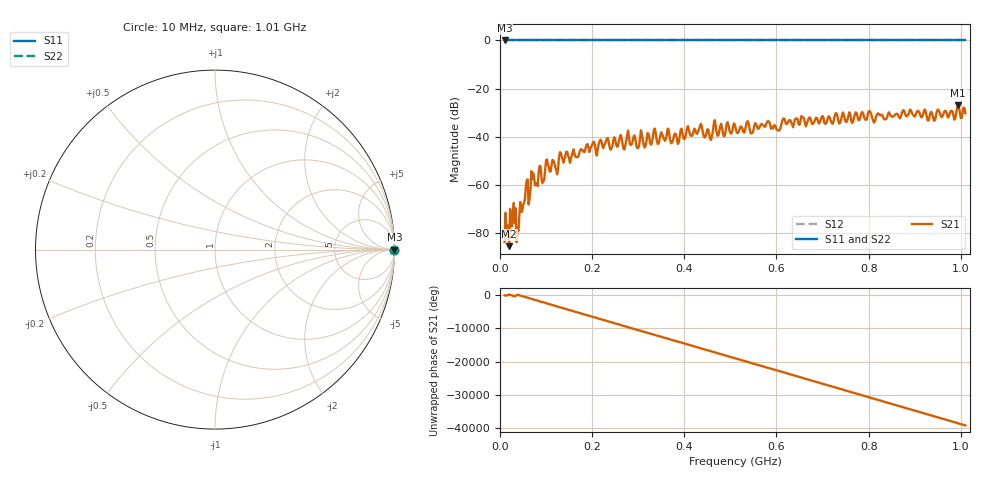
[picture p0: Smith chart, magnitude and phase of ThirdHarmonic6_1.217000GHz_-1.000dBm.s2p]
! 8/16/2025 12:44:24 PM
! C:\ANRITSUVNA\TEMP\TEMP.S2P
! CHANNEL.1
! TR.MEASUREMENT
! RAW.DATA
! RF.CORRECTION.OFF
! AVERAGING.OFF
! IF.BANDWIDTH: 5KHZ
! SWEEPTYPE:  FREQ.SWEEP(Linear)
! Reference Plane Port Info
! PORT:  PORT1  PORT2
! DISTANCE:  0  m  0  m
! TIME:  0  s  0  s
! PHASE.OFFSET:  0  deg.  0  deg.
! LOSS:  0  dB  0  dB
! REF.LOSS:  0  dB  0  dB
! REF.FREQ:  0  Hz  0  Hz
! Power Info
! POWER:  -20  dBm  -20  dBm
! EFF.POWER:  -20  dBm  -20  dBm
! SOURCE.ATTEN:  0  dB  0  dB
! TEST.ATTEN:  0  dB  0  dB
# GHZ S RI R 50.0
! FREQ.GHZ  S11RE  S11IM  S21RE  S21IM  S12RE  S12IM  S22RE  S22IM
!; PortSelection: Port_12
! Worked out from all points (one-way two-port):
!   501 points, 10 MHz to 1.01 GHz, reference 50 ohm
!   highest |S21| = -26.87 dB at 994 MHz (marker M1); lowest = -85.5 dB at 20 MHz (marker M2)
!   lowest |S11| = 0.0 dB at 10 MHz (marker M3)
!   |S11| at or under -10 dB: nowhere
!   |S22| runs from 0.0 to 0.0 dB; largest |S21 - S12| = 1
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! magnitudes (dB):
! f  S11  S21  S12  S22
! 10 MHz  0.0  -83.8  0.0  0.0
! 20 MHz  0.0  -85.5  0.0  0.0
! 26 MHz  0.0  -77.3  0.0  0.0
! 40 MHz  0.0  -79.2  0.0  0.0
! 56 MHz  0.0  -61.0  0.0  0.0
! 72 MHz  0.0  -55.2  0.0  0.0
! 78 MHz  0.0  -59.7  0.0  0.0
! 88 MHz  0.0  -52.3  0.0  0.0
! 94 MHz  0.0  -58.5  0.0  0.0
! 102 MHz  0.0  -49.5  0.0  0.0
! 122 MHz  0.0  -53.8  0.0  0.0
! 132 MHz  0.0  -46.6  0.0  0.0
! 178 MHz  0.0  -45.5  0.0  0.0
! 278 MHz  0.0  -37.4  0.0  0.0
! 314 MHz  0.0  -44.5  0.0  0.0
! 336 MHz  0.0  -36.6  0.0  0.0
! 344 MHz  0.0  -42.9  0.0  0.0
! 510 MHz  0.0  -35.3  0.0  0.0
! 678 MHz  0.0  -34.8  0.0  0.0
! 844 MHz  0.0  -29.8  0.0  0.0
! 994 MHz  0.0  -26.9  0.0  0.0
! 1.01 GHz  0.0  -30.3  0.0  0.0
